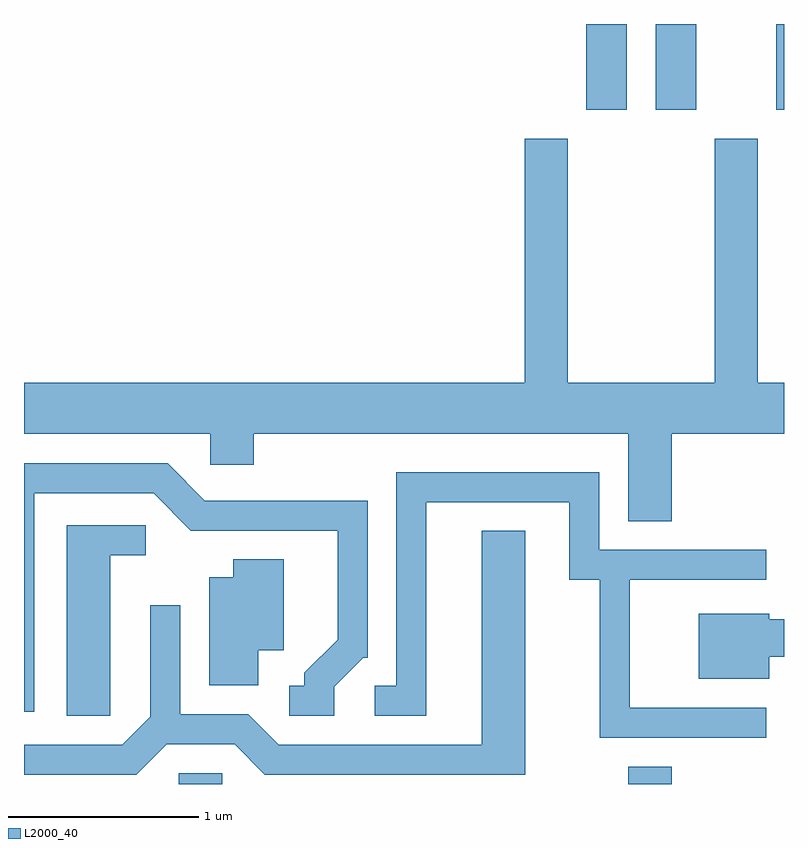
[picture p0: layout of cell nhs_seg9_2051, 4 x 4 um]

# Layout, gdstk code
import gdstk
lib = gdstk.Library(unit=1e-6, precision=1e-09)
def R(c, l, rs):  # rectangles x0, y0, x1, y1
    for r in rs: c.add(gdstk.rectangle(r[:2], r[2:], *l))
def P(c, l, *ps):  # polygons
    for p in ps: c.add(gdstk.Polygon(p, *l))
L2000_40 = (2000, 40)

nhs_seg9_2051 = lib.new_cell('nhs_seg9_2051')
R(nhs_seg9_2051, L2000_40, [(246.426,1974.432,246.654,1974.489), (248.791,1974.432,249.019,1974.524), (248.571,1977.981,248.784,1978.432), (248.936,1977.981,249.149,1978.432), (249.571,1977.981,249.611,1978.432)])
P(nhs_seg9_2051, L2000_40, [(249.019,1976.276),(249.611,1976.276),(249.611,1976.544),(249.474,1976.544),(249.474,1977.829),(249.246,1977.829),(249.246,1976.544),(248.474,1976.544),(248.474,1977.829),(248.246,1977.829),(248.246,1976.544),(245.611,1976.544),(245.611,1976.276),(246.591,1976.276),(246.591,1976.111),(246.819,1976.111),(246.819,1976.276),(248.791,1976.276),(248.791,1975.816),(249.019,1975.816)],
  [(247.244,1974.944),(247.397,1975.096),(247.419,1975.096),(247.419,1975.924),(246.562,1975.924),(246.367,1976.119),(245.611,1976.119),(245.611,1974.811),(245.664,1974.811),(245.664,1975.961),(246.294,1975.961),(246.489,1975.766),(247.261,1975.766),(247.261,1975.192),(247.086,1975.017),(247.086,1974.949),(247.008,1974.949),(247.008,1974.791),(247.244,1974.791)],
  [(249.518,1974.834),(248.799,1974.834),(248.799,1975.506),(249.518,1975.506),(249.518,1975.664),(248.639,1975.664),(248.639,1976.074),(247.571,1976.074),(247.571,1974.949),(247.458,1974.949),(247.458,1974.791),(247.729,1974.791),(247.729,1975.916),(248.481,1975.916),(248.481,1975.506),(248.641,1975.506),(248.641,1974.676),(249.518,1974.676)],
  [(246.064,1975.636),(246.253,1975.636),(246.253,1975.794),(245.836,1975.794),(245.836,1974.791),(246.064,1974.791)],
  [(246.362,1974.641),(246.719,1974.641),(246.879,1974.481),(248.249,1974.481),(248.249,1975.764),(248.021,1975.764),(248.021,1974.639),(246.952,1974.639),(246.792,1974.799),(246.434,1974.799),(246.434,1975.373),(246.276,1975.373),(246.276,1974.787),(246.129,1974.639),(245.611,1974.639),(245.611,1974.481),(246.202,1974.481)],
  [(246.844,1975.136),(246.979,1975.136),(246.979,1975.614),(246.711,1975.614),(246.711,1975.519),(246.586,1975.519),(246.586,1974.951),(246.844,1974.951)],
  [(249.534,1975.101),(249.611,1975.101),(249.611,1975.299),(249.534,1975.299),(249.534,1975.329),(249.161,1975.329),(249.161,1974.986),(249.534,1974.986)])

lib.write_gds('nhs_seg9_2051.gds')
